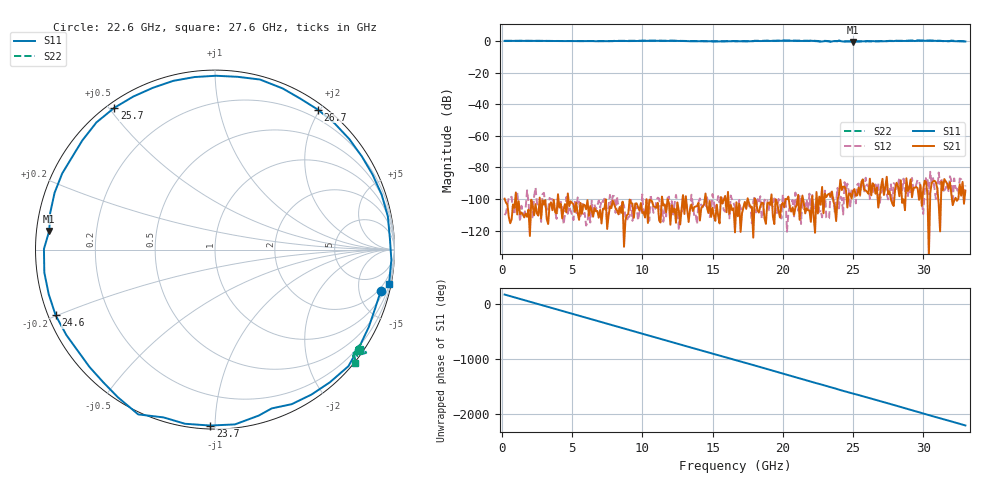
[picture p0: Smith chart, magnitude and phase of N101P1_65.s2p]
# GHZ S RI R 50
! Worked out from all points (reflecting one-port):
!   329 points, 200 MHz to 33 GHz, reference 50 ohm
!   lowest |S11| = -0.6 dB at 25 GHz (marker M1), VSWR 27.30, Z = 1.84 + j2.8 ohm
!   phase of S11 starts at 166 deg and turns -2369 deg over the sweep
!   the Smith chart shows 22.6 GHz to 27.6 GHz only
!   S11 on the Smith chart (normalised r, x): 22.6 GHz: 1.57, -7.78; 23.7 GHz: 0.02, -0.97; 24.6 GHz: 0.02, -0.20; 25.7 GHz: 0.02, +0.52; 26.7 GHz: 0.08, +1.98; 27.6 GHz: 1, -10
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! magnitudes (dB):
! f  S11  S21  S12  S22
! 200 MHz  0.0  -99.7  -110.1  0.0
! 5.7 GHz  -0.2  -109.3  -101.6  -0.1
! 11.2 GHz  0.0  -113.5  -99.6  0.1
! 15 GHz  -0.4  -105.5  -96.8  -0.2
! 16.6 GHz  -0.2  -121.0  -105.1  -0.2
! 20.4 GHz  0.2  -98.4  -108.6  0.2
! 22.1 GHz  0.0  -98.0  -97.4  0.1
! 22.6 GHz  -0.4  -98.4  -108.0  -0.2
! 23 GHz  -0.1  -96.6  -94.6  0.0
! 23.4 GHz  -0.5  -98.4  -95.8  -0.4
! 23.7 GHz  -0.2  -104.6  -108.2  -0.1
! 24 GHz  0.1  -97.3  -105.9  0.2
! 24.3 GHz  -0.4  -92.2  -109.7  -0.2
! 24.6 GHz  -0.4  -105.3  -90.2  -0.2
! 25 GHz  -0.6  -94.8  -95.7  -0.3
! 25.7 GHz  -0.3  -87.5  -89.0  -0.3
! 26.7 GHz  -0.3  -92.6  -92.9  -0.2
! 27.6 GHz  -0.1  -95.1  -94.8  0.0
! 30.4 GHz  0.1  -136.7  -97.1  0.2
! 31.8 GHz  -0.2  -93.5  -95.0  -0.2
! 32 GHz  -0.1  -96.4  -88.2  0.2
! 33 GHz  -0.4  -94.6  -91.4  -0.3
